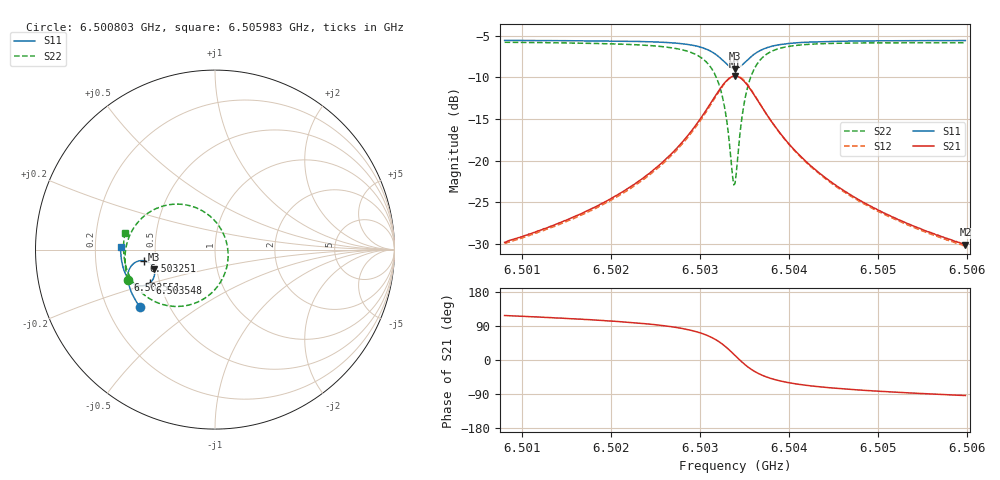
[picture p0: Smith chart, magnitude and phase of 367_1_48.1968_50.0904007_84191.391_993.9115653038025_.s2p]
#  HZ  S  RI  R  50.00
! Rohde & Schwarz Vector Network Analyzer
! Rohde-Schwarz,ZNB20-2Port,1311601062101988,3.16
! Created: UTC 3/20/2024, 11:52:32 AM
! freq[Hz]  re:S11  im:S11  re:S21  im:S21  re:S12  im:S12  re:S22  im:S22
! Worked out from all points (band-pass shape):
!   401 points, 6.500803 GHz to 6.505983 GHz, reference 50 ohm
!   highest |S21| = -9.84 dB at 6.503393 GHz (marker M1); lowest = -30.0 dB at 6.505983 GHz (marker M2)
!   |S21| within 3 dB of the highest: 6.503134 GHz to 6.503652 GHz (517.8 kHz wide, 0.00796 % of centre)
!   lowest |S11| = -8.9 dB at 6.503393 GHz (marker M3), VSWR 2.11, Z = 24.1 - j6.08 ohm
!   |S11| at or under -10 dB: nowhere
!   |S22| runs from -22.9 to -5.8 dB; largest |S21 - S12| = 0.011
!   S11 on the Smith chart (normalised r, x): 6.500803 GHz: 0.34, -0.30; 6.502551 GHz: 0.33, -0.15; 6.503251 GHz: 0.43, -0.06; 6.503548 GHz: 0.44, -0.20; 6.505983 GHz: 0.31, +0.01
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6.5008034e9  -0.4195 -0.3181  -0.0149 0.0288  -0.0134 0.029  -0.4854 -0.1674
6.5016709e9  -0.4578 -0.2553  -0.0146 0.0461  -0.0122 0.0458  -0.501 -0.0775
6.50215e9  -0.4752 -0.2136  -0.0119 0.0651  -0.00895 0.0641  -0.4993 -0.0115
6.5025384e9  -0.485 -0.1718  -0.00329 0.0938  0.000175 0.0916  -0.4815 0.0633
6.5025514e9  -0.4852 -0.1701  -0.00275 0.0951  0.000772 0.0929  -0.4804 0.0665
6.5027974e9  -0.4848 -0.135  0.015 0.1279  0.0189 0.1241  -0.4428 0.1357
6.5029787e9  -0.4737 -0.1019  0.0491 0.1637  0.0523 0.1584  -0.3758 0.2015
6.503147e9  -0.4397 -0.0688  0.1253 0.1968  0.1267 0.1905  -0.2357 0.2524
6.5032506e9  -0.3977 -0.0617  0.2095 0.1887  0.2098 0.1834  -0.0895 0.2261
6.5033024e9  -0.3725 -0.0699  0.2572 0.1614  0.258 0.1568  -0.0101 0.1701
6.5033671e9  -0.3461 -0.0957  0.3045 0.0991  0.307 0.0942  0.0614 0.0505
6.503393e9  -0.3397 -0.1099  0.3148 0.0676  0.3178 0.0619  0.0725 -0.00827
6.503406e9  -0.3377 -0.1174  0.3176 0.051  0.3207 0.045  0.0734 -0.0384
6.5034836e9  -0.3436 -0.1615  0.3014 -0.042  0.3033 -0.0516  0.0174 -0.2011
6.5035484e9  -0.3643 -0.187  0.2596 -0.0955  0.2584 -0.1063  -0.0768 -0.2827
6.503652e9  -0.403 -0.202  0.1866 -0.1312  0.1813 -0.1404  -0.2237 -0.3167
6.5038203e9  -0.4485 -0.1923  0.1064 -0.1286  0.0997 -0.1334  -0.368 -0.2714
6.5040016e9  -0.4755 -0.1708  0.0628 -0.1091  0.0567 -0.1112  -0.4387 -0.2077
6.5042605e9  -0.4961 -0.1407  0.0332 -0.0854  0.0287 -0.086  -0.4815 -0.1364
6.504636e9  -0.5111 -0.1022  0.015 -0.0635  0.0118 -0.0631  -0.5033 -0.0643
6.505128e9  -0.5211 -0.057  0.00499 -0.0468  0.00274 -0.046  -0.5097 0.00345
6.5059826e9  -0.5259 0.0149  -0.00205 -0.0314  -0.00342 -0.0306  -0.5014 0.0922
